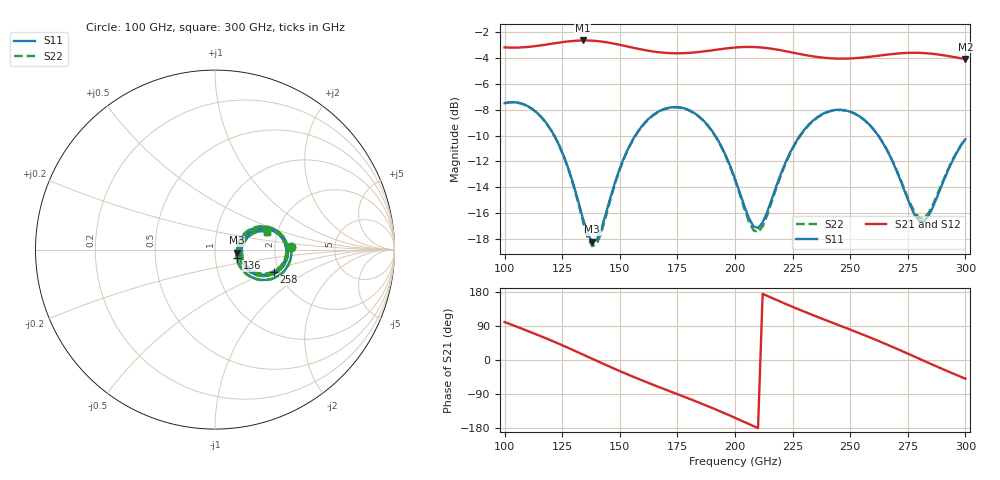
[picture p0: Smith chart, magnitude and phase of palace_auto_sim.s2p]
#  GHZ S DB R 50
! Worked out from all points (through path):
!   101 points, 100 GHz to 300 GHz, reference 50 ohm
!   highest |S21| = -2.64 dB at 134 GHz (marker M1); lowest = -4.1 dB at 300 GHz (marker M2)
!   group delay of S21, straight-line fit = 7.07 ps
!   lowest |S11| = -18.2 dB at 138 GHz (marker M3), VSWR 1.28, Z = 63.8 - j2.27 ohm
!   |S11| at or under -10 dB: 121.6 GHz to 156.7 GHz (35.16 GHz wide, 25.3 % of centre); 191.4 GHz to 228.2 GHz (36.78 GHz wide, 17.5 % of centre); 262.2 GHz to end of sweep
!   |S22| runs from -18.5 to -7.4 dB; largest |S21 - S12| = 8e-14
!   S11 on the Smith chart (normalised r, x): 100 GHz: 2.46, +0.09; 136 GHz: 1.28, -0.12; 258 GHz: 1.87, -0.54; 300 GHz: 1.76, +0.39
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100  -7.49 2.1  -3.18 100.2  -3.18 100.2  -7.50 2.1
110  -7.72 -14.6  -3.15 76.7  -3.15 76.7  -7.73 -14.8
118  -9.00 -27.4  -2.96 57.1  -2.96 57.1  -9.02 -27.8
126  -11.72 -36.6  -2.75 36.3  -2.75 36.3  -11.77 -37.3
134  -16.41 -29.1  -2.64 14.4  -2.64 14.4  -16.61 -30.2
136  -17.56 -20.3  -2.65 8.9  -2.65 8.9  -17.84 -21.2
138  -18.21 -8.2  -2.66 3.3  -2.66 3.3  -18.55 -8.5
146  -14.73 27.2  -2.84 -18.7  -2.84 -18.7  -14.89 28.4
154  -10.85 26.5  -3.14 -39.6  -3.14 -39.6  -10.92 27.3
168  -8.03 7.1  -3.57 -73.7  -3.57 -73.7  -8.06 7.6
184  -8.46 -17.8  -3.54 -111.6  -3.54 -111.6  -8.49 -17.7
200  -13.33 -31.9  -3.19 -152.6  -3.19 -152.6  -13.44 -32.4
210  -17.14 -0.3  -3.17 -179.9  -3.17 -179.9  -17.47 0.3
222  -12.04 25.8  -3.47 148.0  -3.47 148.0  -12.14 27.3
234  -8.81 13.7  -3.88 118.0  -3.88 118.0  -8.85 15.0
246  -8.00 -3.9  -4.05 89.7  -4.05 89.7  -8.02 -2.7
258  -9.09 -21.1  -3.92 60.9  -3.92 60.9  -9.09 -19.9
268  -11.85 -30.4  -3.70 35.5  -3.70 35.5  -11.81 -29.0
278  -16.14 -16.5  -3.60 8.7  -3.60 8.7  -15.94 -15.3
282  -16.61 0.4  -3.62 -2.2  -3.62 -2.2  -16.38 1.0
290  -13.72 21.9  -3.78 -23.6  -3.78 -23.6  -13.61 21.8
300  -10.27 19.1  -4.08 -49.2  -4.08 -49.2  -10.23 19.1
